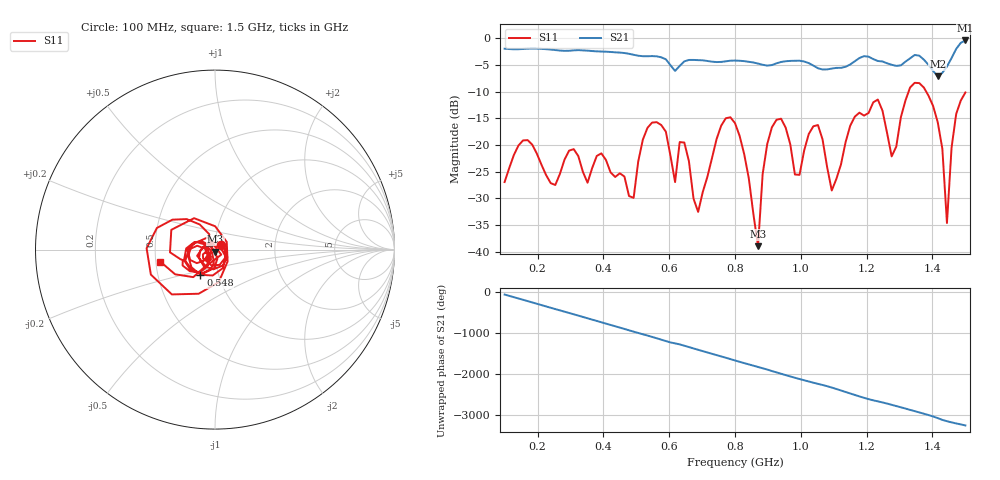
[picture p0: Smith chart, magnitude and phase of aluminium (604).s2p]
! NanoVNA-App
! Date: 2025-09-25 14:59:59
! Start: 100MHz Stop: 1,5GHz Points: 101
! S-Parameter data: F S11 S21 S12 S22
# Hz S RI R 50
!  Frequency  S11_Real  S11_Imag  S21_Real  S21_Imag  S12_Real  S12_Imag  S22_Real  S22_Imag
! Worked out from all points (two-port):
!   101 points, 100 MHz to 1.5 GHz, reference 50 ohm
!   highest |S21| = -0.37 dB at 1.5 GHz (marker M1); lowest = -7.1 dB at 1.416 GHz (marker M2)
!   |S21| within 3 dB of the highest: start of sweep to 563.8 MHz; 1.46 GHz to end of sweep (the widest 2 of 4)
!   lowest |S11| = -39.0 dB at 870 MHz (marker M3), VSWR 1.02, Z = 50.1 - j1.12 ohm
!   |S11| at or under -10 dB: start of sweep to 1.327 GHz; 1.381 GHz to end of sweep
!   S12 and S22 are empty: the file has one direction only
!   S11 on the Smith chart (normalised r, x): 100 MHz: 1.07, +0.06; 548 MHz: 0.82, -0.24; 1.5 GHz: 0.53, -0.08
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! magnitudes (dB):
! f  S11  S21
! 100 MHz  -27.0  -1.9
! 156 MHz  -19.1  -2.0
! 338 MHz  -25.1  -2.2
! 492 MHz  -29.9  -3.1
! 548 MHz  -15.8  -3.3
! 576 MHz  -16.3  -3.5
! 618 MHz  -27.0  -6.1
! 646 MHz  -19.5  -4.3
! 688 MHz  -32.6  -4.1
! 800 MHz  -15.9  -4.1
! 870 MHz  -39.0  -4.7
! 912 MHz  -16.7  -5.0
! 996 MHz  -25.6  -4.2
! 1.038 GHz  -16.5  -5.1
! 1.094 GHz  -28.5  -5.7
! 1.234 GHz  -11.5  -4.2
! 1.276 GHz  -22.1  -4.9
! 1.346 GHz  -8.3  -3.1
! 1.416 GHz  -15.7  -7.1
! 1.444 GHz  -34.6  -5.3
! 1.472 GHz  -14.2  -2.0
! 1.5 GHz  -10.1  -0.4
